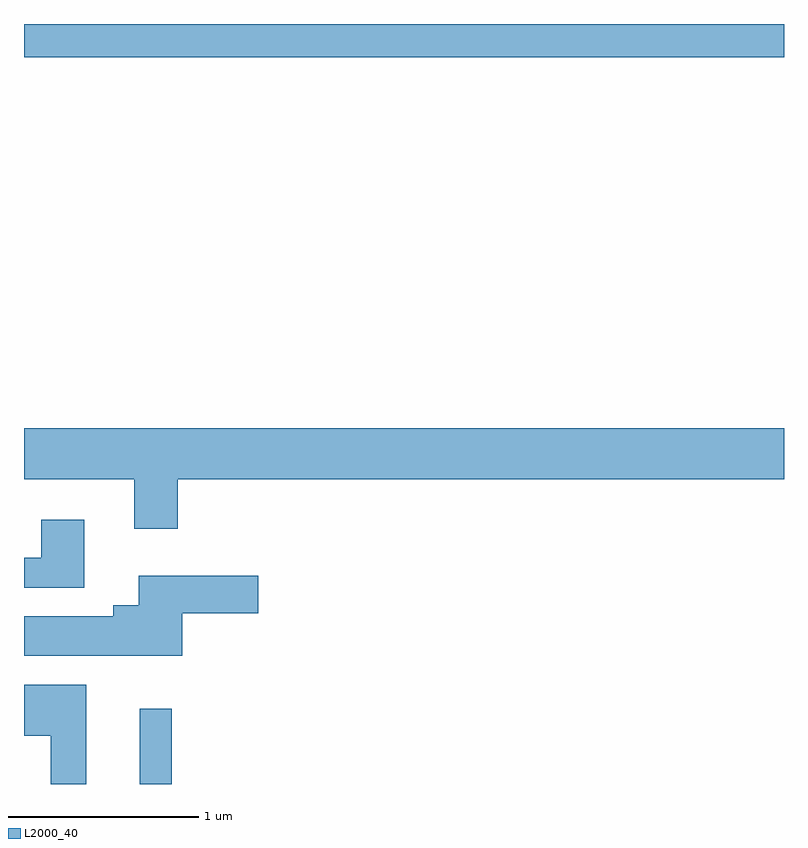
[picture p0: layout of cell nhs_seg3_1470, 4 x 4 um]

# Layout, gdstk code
import gdstk
lib = gdstk.Library(unit=1e-6, precision=1e-09)
def R(c, l, rs):  # rectangles x0, y0, x1, y1
    for r in rs: c.add(gdstk.rectangle(r[:2], r[2:], *l))
def P(c, l, *ps):  # polygons
    for p in ps: c.add(gdstk.Polygon(p, *l))
L2000_40 = (2000, 40)

nhs_seg3_1470 = lib.new_cell('nhs_seg3_1470')
R(nhs_seg3_1470, L2000_40, [(228.221,1199.892,228.389,1200.288), (227.611,1203.716,231.611,1203.892)])
P(nhs_seg3_1470, L2000_40, [(228.419,1201.496),(231.611,1201.496),(231.611,1201.764),(227.611,1201.764),(227.611,1201.496),(228.191,1201.496),(228.191,1201.236),(228.419,1201.236)],
  [(227.929,1201.284),(227.701,1201.284),(227.701,1201.084),(227.611,1201.084),(227.611,1200.926),(227.929,1200.926)],
  [(228.444,1200.791),(228.844,1200.791),(228.844,1200.989),(228.216,1200.989),(228.216,1200.834),(228.081,1200.834),(228.081,1200.774),(227.611,1200.774),(227.611,1200.566),(228.444,1200.566)],
  [(227.939,1200.414),(227.611,1200.414),(227.611,1200.146),(227.751,1200.146),(227.751,1199.892),(227.939,1199.892)])

lib.write_gds('nhs_seg3_1470.gds')
